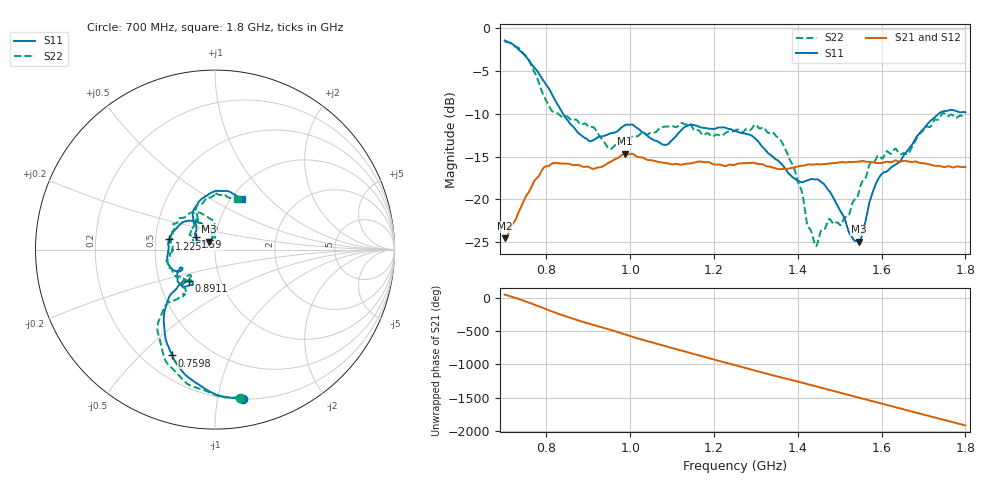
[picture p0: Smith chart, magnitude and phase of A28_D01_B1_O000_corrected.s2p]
! Created with skrf 1.9.0 (http://scikit-rf.org).
# Hz S RI R 50.0
!freq ReS11 ImS11 ReS21 ImS21 ReS12 ImS12 ReS22 ImS22
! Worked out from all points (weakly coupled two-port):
!   1601 points, 700 MHz to 1.8 GHz, reference 50 ohm
!   highest |S21| = -14.66 dB at 986.7 MHz (marker M1); lowest = -24.5 dB at 700.7 MHz (marker M2)
!   lowest |S11| = -24.9 dB at 1.546 GHz (marker M3), VSWR 1.12, Z = 46.5 + j4.17 ohm
!   |S11| at or under -10 dB: 839.6 MHz to 1.736 GHz (896.5 MHz wide, 69.6 % of centre)
!   |S22| runs from -25.5 to -1.5 dB; largest |S21 - S12| = 0.0037
!   S11 on the Smith chart (normalised r, x): 700 MHz: 0.20, -1.18; 759.8 MHz: 0.32, -0.63; 891.1 MHz: 0.71, -0.26; 1.225 GHz: 0.59, +0.08; 1.59 GHz: 0.80, +0.11; 1.8 GHz: 1.12, +0.71
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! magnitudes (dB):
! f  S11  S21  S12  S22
! 700 MHz  -1.4  -24.5  -24.3  -1.5
! 700.7 MHz  -1.5  -24.5  -24.2  -1.6
! 759.8 MHz  -3.9  -19.0  -18.9  -3.9
! 812.1 MHz  -7.6  -15.8  -15.8  -9.6
! 883.6 MHz  -12.5  -16.1  -16.0  -11.3
! 891.1 MHz  -12.8  -16.2  -16.2  -11.1
! 950.2 MHz  -12.3  -15.7  -15.7  -14.1
! 986.7 MHz  -11.4  -14.7  -14.8  -13.0
! 1.067 GHz  -13.3  -15.6  -15.6  -11.8
! 1.225 GHz  -11.6  -16.1  -16.1  -12.3
! 1.25 GHz  -12.0  -15.9  -15.9  -12.0
! 1.359 GHz  -15.8  -16.5  -16.5  -13.1
! 1.392 GHz  -17.6  -16.2  -16.2  -16.5
! 1.434 GHz  -17.6  -15.9  -15.9  -24.0
! 1.444 GHz  -17.7  -15.9  -15.9  -25.5
! 1.504 GHz  -21.5  -15.7  -15.7  -22.9
! 1.546 GHz  -24.9  -15.6  -15.6  -19.2
! 1.59 GHz  -17.8  -15.7  -15.7  -15.0
! 1.617 GHz  -16.5  -15.6  -15.6  -14.5
! 1.663 GHz  -14.2  -15.6  -15.6  -14.7
! 1.737 GHz  -9.9  -16.1  -16.1  -10.6
! 1.8 GHz  -9.8  -16.2  -16.2  -10.2
